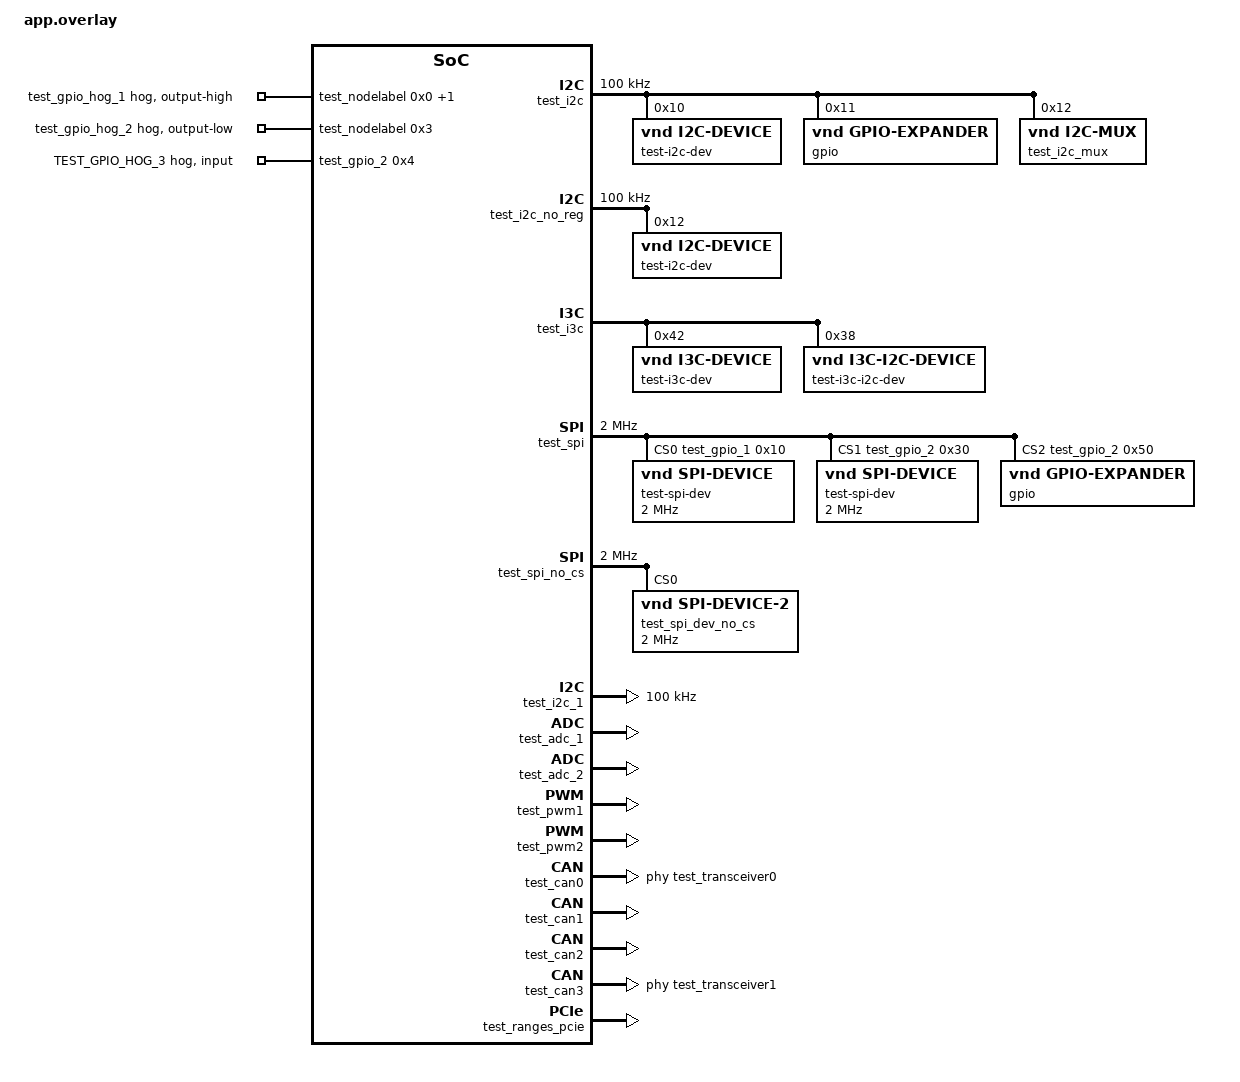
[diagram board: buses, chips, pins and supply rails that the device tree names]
/*
 * Copyright (c) 2020 Nordic Semiconductor ASA
 *
 * SPDX-License-Identifier: Apache-2.0
 *
 * Application overlay for testing the devicetree.h API.
 *
 * Names in this file should be chosen in a way that won't conflict
 * with real-world devicetree nodes, to allow these tests to run on
 * (and be extended to test) real hardware.
 */

/ {
	aliases {
		test-alias = &test_nodelabel;
	};

	chosen {
		ztest,gpio = &test_nodelabel;
	};

	zephyr,user {
		ph = <&test_gpio_1>;
		string = "foo";
	};

	test {
		#address-cells = <0x1>;
		#size-cells = <0x1>;
		interrupt-parent = <&test_intc>;

		test_cpu_intc: interrupt-controller {
			compatible = "vnd,cpu-intc";
			#address-cells = <0>;
			#interrupt-cells = <0x01>;
			interrupt-controller;
		};

		test_pinctrl: pin-controller {
			compatible = "vnd,pinctrl";
			test_pincfg_a: pincfg-a {};
			test_pincfg_b: pincfg-b {};
			test_pincfg_c: pincfg-c {};
			test_pincfg_d: pincfg-d {};
		};

		test_arrays: array-holder {
			/*
			 * vnd,undefined-compat is for DT_NODE_HAS_COMPAT_STATUS(..,okay).
			 * There should only be one vnd,array-holder in the entire DTS.
			 */
			compatible = "vnd,array-holder", "vnd,undefined-compat";
			a = <1000 2000 3000>;
			b = [aa bb cc dd];
			c = "bar", "baz";
		};

		test_phandles: phandle-holder-0 {
			/*
			 * There should only be one vnd,phandle-holder in the entire DTS.
			 */
			compatible = "vnd,phandle-holder";
			/*
			 * At least one of these phandles must refer to
			 * test_gpio_1, or dependency ordinal tests may fail.
			 */
			ph = <&test_gpio_1>;
			phs = <&test_i2c &test_spi>;
			phs-or = <&test_enum_default_0 &test_enum_default_1>;
			gpios = <&test_gpio_1 10 20>, <&test_gpio_2 30 40>;
			pha-gpios = <&test_gpio_1 50 60>, <0>, <&test_gpio_3 70>, <&test_gpio_2 80 90>;
			foos = <&test_gpio_1 100>, <&test_gpio_2 110>;
			foo-names = "A", "b-c";
			pwms = <&test_pwm1 8 200 3>, <&test_pwm2 5 100 1>;
			pwm-names = "red", "green";
			bar = <&test_gpio_1 200>, <&test_gpio_2 210>;
			baz-names = "john", "doe";
		};

		test_enum_0: enum-0 {
			compatible = "vnd,enum-holder";
			val = "zero";
		};

		test_enum_1: enum-1 {
			compatible = "vnd,enum-holder";
			val = "two";
		};

		test_enum_default_0: enum-2 {
			compatible = "vnd,enum-required-false-holder";
			val = "one";
		};

		test_enum_default_1: enum-3 {
			compatible = "vnd,enum-required-false-holder";
		};

		test_enum_int_default_0: enum-4 {
			compatible = "vnd,enum-int-required-false-holder";
			val = <5>;
		};

		test_enum_int_default_1: enum-5 {
			compatible = "vnd,enum-int-required-false-holder";
		};

		enum-6 {
			compatible = "vnd,enum-holder-inst";
			val = "zero";
		};

		enum-7 {
			compatible = "vnd,enum-required-false-holder-inst";
		};

		test_enum_string_array: enum-8 {
			compatible = "vnd,enum-string-array-holder";
			val = "foo", "zoo", "foo";
		};

		test_enum_int_array: enum-9 {
			compatible = "vnd,enum-int-array-holder";
			val = <4 3 4 0>;
		};

		/*
		 * disabled/reserved should be the only nodes with their
		 * compatible in the tree.
		 */
		disabled-node@0 {
			compatible = "vnd,disabled-compat";
			reg = <0x0 0x1000>;
			status = "disabled";
		};

		reserved-node@0 {
			compatible = "vnd,reserved-node";
			reg = <0x0 0x1000>;
			status = "reserved";
		};

		disabled_gpio: gpio@0 {
			compatible = "vnd,gpio-device";
			gpio-controller;
			reg = <0x0 0x1000>;
			interrupts = <3 1>;
			#gpio-cells = <0x2>;
			status = "disabled";
		};

		reserved_gpio: gpio@1 {
			compatible = "vnd,gpio-device";
			gpio-controller;
			reg = <0x1 0x1000>;
			interrupts = <3 1>;
			#gpio-cells = <0x2>;
			status = "reserved";
		};

		test_no_status: intc_no_status@0 {
			compatible = "vnd,intc";
			reg = <0x0 0x1000>;
			interrupt-controller;
			#interrupt-cells = <2>;
		};

		test_nodelabel: TEST_NODELABEL_ALLCAPS: test_gpio_1: gpio@deadbeef {
			compatible = "vnd,gpio-device";
			gpio-controller;
			reg = <0xdeadbeef 0x1000>;
			#gpio-cells = <0x2>;
			#foo-cells = <0x1>;
			#baz-cells = <0x1>;
			interrupts = <4 3>;
			status = "okay";
			ngpios = <100>;

			test_gpio_hog_1 {
				gpio-hog;
				gpios = <0x0 0x00>, <0x1 0x10>;
				output-high;
			};

			test_gpio_hog_2 {
				gpio-hog;
				gpios = <0x3 0x20>;
				output-low;
			};
		};

		test_gpio_2: gpio@abcd1234 {
			compatible = "vnd,gpio-device";
			gpio-controller;
			reg = <0xabcd1234 0x500 0x98765432 0xff>;
			reg-names = "one", "two";
			#gpio-cells = <0x2>;
			#foo-cells = <0x1>;
			#baz-cells = <0x1>;
			interrupts = <5 2>;
			status = "okay";
			ngpios = <200>;

			test_gpio_hog_3 {
				gpio-hog;
				gpios = <0x4 0x30>;
				input;
				line-name = "TEST_GPIO_HOG_3";
			};
		};

		test_gpio_3: gpio@1234 {
			compatible = "vnd,gpio-one-cell";
			gpio-controller;
			reg = <0x1234 0x500>;
			#gpio-cells = <0x1>;
			status = "okay";
		};

		test_gpio_4: gpio@1234abcd {
			compatible = "vnd,gpio-intc-device";
			reg = <0x1234abcd 0x500>;
			gpio-controller;
			#gpio-cells = <0x2>;
			interrupt-controller;
			#interrupt-cells = <0x2>;
			status = "okay";
		};

		test_i2c: i2c@11112222 {
			#address-cells = <1>;
			#size-cells = <0>;
			compatible = "vnd,i2c";
			reg = <0x11112222 0x1000>;
			status = "okay";
			clock-frequency = <100000>;
			interrupts = <6 2 7 1>;
			interrupt-names = "status", "error";

			test-i2c-dev@10 {
				compatible = "vnd,i2c-device";
				reg = <0x10>;
			};

			gpio@11 {
				gpio-controller;
				#gpio-cells = <2>;
				compatible = "vnd,gpio-expander";
				reg = <0x11>;
			};

			test_i2c_mux: i2c-mux@12 {
				compatible = "vnd,i2c-mux";
				reg = <0x12>;
				i2c-mux-ctlr-1 {
					compatible = "vnd,i2c-mux-controller";
					#address-cells = <1>;
					#size-cells = <0>;
					test_muxed_i2c_dev_1: muxed-i2c-dev@10 {
						compatible = "vnd,i2c-device";
						status = "disabled";
						reg = <0x10>;
					};
				};
				i2c-mux-ctlr-2 {
					compatible = "vnd,i2c-mux-controller";
					#address-cells = <1>;
					#size-cells = <0>;
					test_muxed_i2c_dev_2: muxed-i2c-dev@10 {
						compatible = "vnd,i2c-device";
						status = "disabled";
						reg = <0x10>;
					};
				};
			};
		};

		test_i2c_no_reg: i2c {
			#address-cells = <1>;
			#size-cells = <0>;
			compatible = "vnd,i2c";
			status = "okay";
			clock-frequency = <100000>;

			test-i2c-dev@12 {
				compatible = "vnd,i2c-device";
				reg = <0x12>;
			};
		};

		test_i3c: i3c@88889999 {
			#address-cells = <3>;
			#size-cells = <0>;
			compatible = "vnd,i3c";
			reg = <0x88889999 0x1000>;
			status = "okay";

			test-i3c-dev@420000ABCD12345678 {
				compatible = "vnd,i3c-device";
				reg = <0x42 0xABCD 0x12345678>;
			};

			test-i3c-i2c-dev@380000000000000050 {
				compatible = "vnd,i3c-i2c-device";
				reg = <0x38 0x0 0x50>;
			};
		};

		test_mbox: mbox {
			compatible = "vnd,mbox";
			#mbox-cells = <1>;
			status = "okay";
		};

		test_mbox_zero_cell: mbox_zero_cell {
			compatible = "vnd,mbox-zero-cell";
			#mbox-cells = <0>;
			status = "okay";
		};

		test_spi: spi@33334444 {
			#address-cells = <1>;
			#size-cells = <0>;
			compatible = "vnd,spi";
			reg = <0x33334444 0x1000>;
			interrupts = <8 3 9 0 10 1>;
			status = "okay";
			clock-frequency = <2000000>;

			cs-gpios = <&test_gpio_1 0x10 0x20>,
				   <&test_gpio_2 0x30 0x40>,
				   <&test_gpio_2 0x50 0x60>;

			/* all vnd,spi-device instances should have CS */

			test-spi-dev@0 {
				compatible = "vnd,spi-device";
				reg = <0>;
				spi-max-frequency = <2000000>;
			};

			test-spi-dev@1 {
				compatible = "vnd,spi-device";
				reg = <1>;
				spi-max-frequency = <2000000>;
			};

			gpio@2 {
				gpio-controller;
				#gpio-cells = <2>;
				compatible = "vnd,gpio-expander";
				reg = <2>;
				spi-max-frequency = <(1 * 1000 * 1000)>;
			};
		};

		test_spi_no_cs: spi@55556666 {
			#address-cells = <1>;
			#size-cells = <0>;
			compatible = "vnd,spi";
			reg = <0x55556666 0x1000>;
			status = "okay";
			clock-frequency = <2000000>;

			/*
			 * There should only be one spi-device-2 node.
			 * It should not have a CS GPIO.
			 */
			test_spi_dev_no_cs: test-spi-dev@0 {
				compatible = "vnd,spi-device-2";
				reg = <0>;
				spi-max-frequency = <2000000>;
			};
		};

		test_i2c_1: i2c@77778888 {
			#address-cells = <1>;
			#size-cells = <0>;
			compatible = "vnd,i2c";
			reg = <0x77778888 0x1000>;
			status = "okay";
			clock-frequency = <100000>;
			interrupts = <11 3 12 2>;
			interrupt-names = "status", "error";
		};

		test_adc_1: adc@10002000 {
			reg = <0x10002000 0x1000>;
			compatible = "vnd,adc";
			status = "okay";
			#io-channel-cells = <1>;
		};

		test_adc_2: adc@10003000 {
			reg = <0x10003000 0x1000>;
			compatible = "vnd,adc";
			status = "okay";
			#io-channel-cells = <1>;
		};

		/* there should only be one of these */
		test_temp_sensor: temperature-sensor {
			compatible = "vnd,adc-temp-sensor";
			io-channels = <&test_adc_1 10>, <&test_adc_2 20>;
			io-channel-names = "ch1", "ch2";
			dmas = <&test_dma1 1 2>, <&test_dma2 3 4>;
			dma-names = "tx", "rx";
			clocks = <&test_clk 3 7>, <&test_fixed_clk>, <&test_clk 8 2>;
			clock-names = "clk-a", "clk-fixed", "clk-b";
			resets = <&test_reset 10>, <&test_reset 20>;
			reset-names = "reset-a", "reset-b";
			pinctrl-0 = <&test_pincfg_a &test_pincfg_b>;
			pinctrl-1 = <&test_pincfg_c &test_pincfg_d>;
			pinctrl-2 = <&test_pincfg_d>;
			pinctrl-names = "default", "sleep", "f.o.o2";
			mboxes = <&test_mbox 1>, <&test_mbox 2>, <&test_mbox_zero_cell>;
			mbox-names = "tx", "rx", "zero";
		};

		/* there should only be one of these */
		test_reg: reg-holder@9999aaaa {
			compatible = "vnd,reg-holder";
			reg = <0x9999aaaa 0x1000 0xbbbbcccc 0x3f>;
			status = "okay";
			reg-names = "first", "second";
			misc-prop = <1234>;
		};

		test_vendor: vendor {
			compatible = "vnd,model1", "gpio", "zephyr,model2";
			status = "okay";
		};

		test_intc: interrupt-controller@bbbbcccc {
			compatible = "vnd,intc";
			reg = <0xbbbbcccc 0x1000>;
			interrupt-controller;
			#interrupt-cells = <2>;
			interrupts = <11 0>;
			interrupt-parent = <&test_cpu_intc>;
		};

		/* same as `test_intc` but extends a different L1 interrupt.
		 * Required for testing if interrupts are encoded properly for
		 * nodes consuming interrupts from different aggregators.
		 */
		test_intc2: interrupt-controller@bbbbdccc {
			compatible = "vnd,intc";
			reg = <0xbbbbdccc 0x1000>;
			interrupt-controller;
			#interrupt-cells = <2>;
			interrupts = <12 0>;
			interrupt-parent = <&test_cpu_intc>;
		};

		/* there should only be one of these */
		test_irq: interrupt-holder {
			compatible = "vnd,interrupt-holder";
			status = "okay";
			interrupts = <30 3 40 5 60 7>;
			interrupt-parent = <&test_intc>;
			interrupt-names = "err", "stat", "done";
		};

		/* there should only be one of these */
		test_irq_extended: interrupt-holder-extended {
			compatible = "vnd,interrupt-holder-extended";
			status = "okay";
			interrupts-extended = <&test_intc 70 7>,
					      <&test_gpio_4 30 3>,
					      <&test_intc2 42 7>;
			interrupt-names = "int1", "int2", "int3";
		};

		test_fixed_clk: test-fixed-clock {
			compatible = "fixed-clock";
			clock-frequency = <25000000>;
			#clock-cells = <0>;
		};

		test_clk: test-clock {
			compatible = "vnd,clock";
			#clock-cells = <2>;
		};

		test_reset: test-reset@abcd1234 {
			compatible = "vnd,reset";
			reg-width = <4>;
			reg = <0xabcd1234 0x100>;
			#reset-cells = <1>;
		};

		test_dma1: dma@44443333 {
			compatible = "vnd,dma";
			#dma-cells = <2>;
			reg = <0x44443333 0x1000>;
			interrupts = <11 3>;
			status = "okay";
		};

		test_dma2: dma@44442222 {
			compatible = "vnd,dma";
			#dma-cells = <2>;
			reg = <0x44442222 0x1000>;
			interrupts = <12 3>;
			status = "okay";
		};

		test_video0: video@10010000 {
			compatible = "vnd,video-single-port";
			reg = <0x10010000 0x1000>;

			test_video0_port: port {
				test_video0_out: endpoint {
					remote-endpoint-label = "test_video2_port0_in0";
				};
			};
		};

		test_video1: video@10011000 {
			compatible = "vnd,video-single-port";
			reg = <0x10011000 0x1000>;

			test_video1_port: port {
				#address-cells = <1>;
				#size-cells = <0>;

				test_video1_out0: endpoint@0 {
					reg = <0x0>;
					remote-endpoint-label = "test_video2_port0_in1";
				};

				test_video1_out1: endpoint@1 {
					reg = <0x1>;
					remote-endpoint-label = "test_video2_port1_in";
				};
			};
		};

		test_video2: video@10012000 {
			compatible = "vnd,video-multi-port";
			reg = <0x10012000 0x1000>;

			ports {
				#address-cells = <1>;
				#size-cells = <0>;

				test_video2_port0: port@0 {
					reg = <0x0>;
					#address-cells = <1>;
					#size-cells = <0>;

					test_video2_port0_in0: endpoint@0 {
						reg = <0x0>;
						remote-endpoint-label = "test_video0_out";
					};

					test_video2_port0_in1: endpoint@1 {
						reg = <0x1>;
						remote-endpoint-label = "test_video1_out0";
					};
				};

				test_video2_port1: port@1 {
					reg = <0x1>;

					test_video2_port1_in: endpoint {
						remote-endpoint-label = "test_video1_out1";
					};
				};
			};
		};

		test_pwm1: pwm@55551111 {
			compatible = "vnd,pwm";
			#pwm-cells = <3>;
			reg = <0x55551111 0x1000>;
			status = "okay";
		};

		test_pwm2: pwm@55552222 {
			compatible = "vnd,pwm";
			#pwm-cells = <3>;
			reg = <0x55552222 0x1000>;
			status = "okay";
		};

		test_transceiver0: can-phy0 {
			compatible = "vnd,can-transceiver";
			status = "okay";
			#phy-cells = <0>;
			min-bitrate = <10000>;
			max-bitrate = <5000000>;
		};

		test_transceiver1: can-phy1 {
			compatible = "vnd,can-transceiver";
			status = "okay";
			#phy-cells = <0>;
			max-bitrate = <1000000>;
		};

		test_can0: can@55553333 {
			compatible = "vnd,can-controller";
			reg = <0x55553333 0x1000>;
			status = "okay";
			phys = <&test_transceiver0>;
		};

		test_can1: can@55554444 {
			compatible = "vnd,can-controller";
			reg = <0x55554444 0x1000>;
			status = "okay";

			can-transceiver {
				min-bitrate = <50000>;
				max-bitrate = <2000000>;
			};
		};

		test_can2: can@55555555 {
			compatible = "vnd,can-controller";
			reg = <0x55555555 0x1000>;
			status = "okay";

			can-transceiver {
				max-bitrate = <1000000>;
			};
		};

		test_can3: can@55557777 {
			compatible = "vnd,can-controller";
			reg = <0x55556666 0x1000>;
			status = "okay";
			phys = <&test_transceiver1>;
		};

		test_parent: test-parent {
			compatible = "vnd,parent-bindings";

			test_parent_a: parent-a {
				val = <0>;

				test_parent_b: parent-b {
					val = <0>;
				};
			};
		};

		/* there should only be one of these */
		test_children: test-children {
			compatible = "vnd,child-bindings";

			test_child_a: child-a {
				val = <0>;
				status = "okay";
			};
			test_child_b: child-b {
				val = <1>;
				status = "okay";
			};
			test_child_c: child-c {
				val = <2>;
				status = "disabled";
			};
		};

		test-great-grandchildren {
			compatible = "vnd,great-grandchild-bindings";

			child {
				grandchild {
					test_ggc: great-grandchild {
						ggc-prop = <42>;
					};
				};
			};
		};

		test-ranges {
			#address-cells = <2>;
			#size-cells = <1>;

			test_ranges_pcie: pcie@0 {
				compatible = "vnd,pcie";
				reg = <0 0 1>;
				#address-cells = <3>;
				#size-cells = <2>;

				ranges = <0x1000000 0 0 0 0x3eff0000 0 0x10000>,
					 <0x2000000 0 0x10000000 0 0x10000000 0 0x2eff0000>,
					 <0x3000000 0x80 0 0x80 0 0x80 0>;
			};

			test_ranges_other: other@1 {
				reg = <0 1 1>;
				#address-cells = <2>;
				#size-cells = <1>;

				ranges = <0x0 0x0 0x0 0x3eff0000 0x10000>,
					 <0x0 0x10000000 0x0 0x10000000 0x2eff0000>;
			};

			test_ranges_empty: empty@2 {
				reg = <0 2 1>;
				#address-cells = <2>;
				#size-cells = <1>;

				ranges;
			};
		};

		device-with-props-0 {
			compatible = "vnd,device-with-props";
			status = "okay";
			foo = <1>;
			bar = <2>;
			bool-foo;
			bool-bar;
		};

		device-with-props-1 {
			compatible = "vnd,device-with-props";
			status = "okay";
			foo = <2>;
			bool-foo;
		};

		device-with-props-2 {
			compatible = "vnd,device-with-props";
			status = "disabled";
			baz = <1>;
			bool-baz;
		};

		test_string_token_0: string-token-0 {
			compatible = "vnd,string-token";
			val = "token_zero";
		};

		test_string_token_1: string-token-1 {
			compatible = "vnd,string-token";
			val = "token_one";
		};

		test_string_token_2: string-token-2 {
			compatible = "vnd,string-token";
			val = "token_two";
		};

		test_str_array_token_0: string-array-token-0 {
			compatible = "vnd,string-array-token";
			val = "token_first_idx_zero",
			      "token_first_idx_one",
			      "token_first_idx_two";
		};

		test_str_array_token_1: string-array-token-1 {
			compatible = "vnd,string-array-token";
			val = "token_second_idx_zero",
			      "token_second_idx_one",
			      "token_second_idx_two",
			      "token_second_idx_three";
		};

		test_str_unquoted_f0: string-unquoted-f0 {
			compatible = "vnd,string-unquoted";
			val = "0.1234";
		};

		test_str_unquoted_f1: string-unquoted-f1 {
			compatible = "vnd,string-unquoted";
			val = "0.9e-3";
		};

		test_str_unquoted_t: string-unquoted-t {
			compatible = "vnd,string-unquoted";
			val = "XA XPLUS XB";
		};

		test_str_unquoted_esc_t: string-unquoted-escape-t {
			compatible = "vnd,string-unquoted";
			val = "XA\nXPLUS\nXB";
		};

		/*
		 * Tests expect all vnd,string-unquoted instances to evaluate to doubles,
		 * so use vnd,string instead.
		 */
		test_str_unquoted_esc_s: string-unquoted-escape-s {
			compatible = "vnd,string";
			val = "XSTR1 \" plus \" XSTR2";
		};

		test_stra_unquoted_f0: string-array-unquoted-f0 {
			compatible = "vnd,string-array-unquoted";
			val = "1.0e2", "2.0e2", "3.0e2", "4.0e2";
		};

		test_stra_unquoted_f1: string-array-unquoted-f1 {
			compatible = "vnd,string-array-unquoted";
			val = "0.01", "0.1", "1.0", "10.0";
		};

		test_stra_unquoted_t: string-array-unquoted-t {
			compatible = "vnd,string-array-unquoted";
			val = "XA XPLUS XB", "XC XPLUS XD", "XA XMINUS XB", "XC XMINUS XD";
		};

		/*
		 * Tests expect all vnd,string-array-unquoted instances to evaluate to doubles,
		 * so use vnd,string-array instead.
		 */
		test_stra_unquoted_esc: string-array-unquoted-escape {
			compatible = "vnd,string-array";
			val = "XA\nXPLUS\nXB", "XSTR1 \" plus \" XSTR2";
		};

		test_str_escape_0: string-escape-0 {
			compatible = "vnd,string";
			val = "\a\b\f\n\r\t\v";
		};

		test_str_escape_1: string-escape-1 {
			compatible = "vnd,string";
			val = "\'single\' \"double\"";
		};

		test_str_escape_2: string-escape-2 {
			compatible = "vnd,string";
			val = "first\nsecond";
		};

		test_str_escape_3: string-escape-3 {
			compatible = "vnd,string";
			val = "\x01\x7F";
		};

		test_stra_escape: string-array-escape {
			compatible = "vnd,string-array";
			val = "\a\b\f\n\r\t\v",
			      "\'single\' \"double\"",
			      "first\nsecond",
			      "\x01\x7F";
		};

		test-mtd@ffeeddcc {
			reg = <0xffeeddcc 0x1000>;
			#address-cells = <1>;
			#size-cells = <1>;

			flash@20000000 {
				compatible = "soc-nv-flash";
				reg = <0x20000000 0x100>;
				partitions {
					compatible = "fixed-partitions";
					#address-cells = <1>;
					#size-cells = <1>;

					partition@0 {
						reg = <0x0 0xc0>;
						label = "test-partition-0";
					};

					partition@c0 {
						reg = <0xc0 0x40>;
						label = "test-partition-1";
					};

					partition@100 {
						compatible = "fixed-subpartitions";
						label = "test-subpartitions";
						reg = <0x00000100 0x100>;
						ranges = <0x0 0x100 0x100>;
						#address-cells = <1>;
						#size-cells = <1>;

						partition@0 {
							label = "test-subpartition-0";
							reg = <0x00000000 0x40>;
						};

						partition@40 {
							label = "test-subpartition-1";
							reg = <0x00000040 0xc0>;
						};
					};
				};
			};
		};

		test-mtd@33221100 {
			reg = <0x33221100 0x1000>;

			partitions {
				compatible = "fixed-partitions";
				#address-cells = <1>;
				#size-cells = <1>;

				partition@6ff80 {
					reg = <0x6ff80 0x80>;
					label = "test-partition-2";
				};
			};
		};
	};

	test_64 {
		#address-cells = <2>;
		#size-cells = <0>;

		test_reg_64: reg-holder-64@ffffffff11223344 {
			compatible = "vnd,reg-holder-64";
			reg = <0xffffffff 0x11223344>;
			status = "okay";
			reg-names = "test_name";
		};
	};

	non-deprecated-label {
		compatible = "vnd,non-deprecated-label";
		label = "FOO";
	};
};
